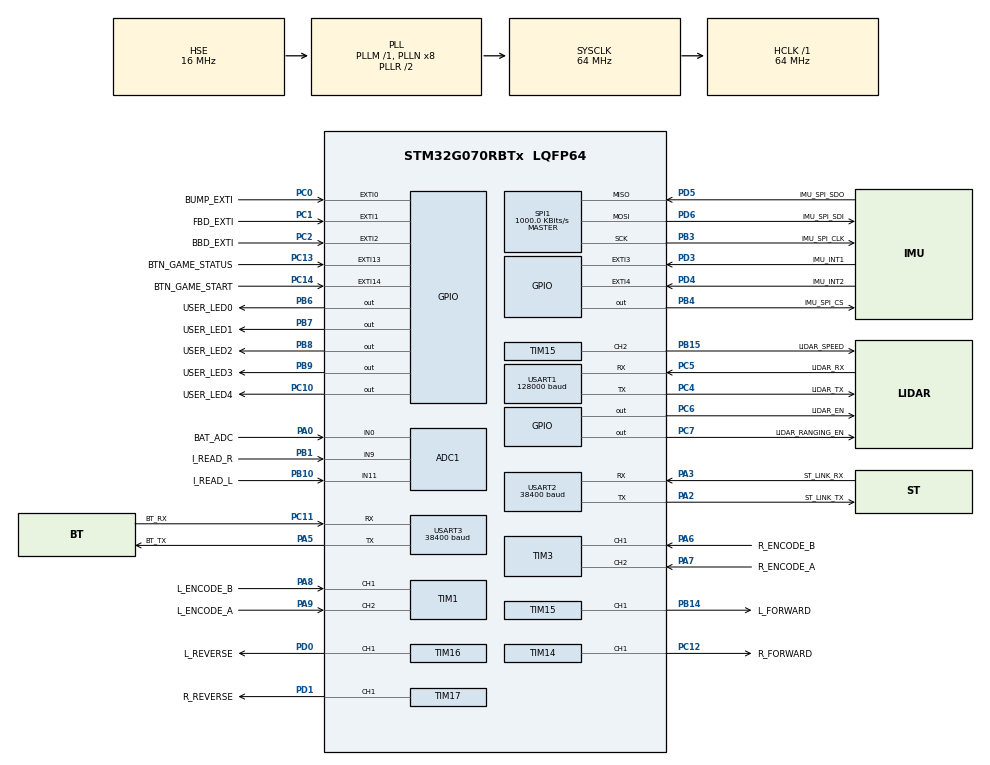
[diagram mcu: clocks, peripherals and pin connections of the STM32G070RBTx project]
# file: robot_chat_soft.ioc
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ADC1.Channel-0\#ChannelRegularConversion=ADC_CHANNEL_0
ADC1.Channel-1\#ChannelRegularConversion=ADC_CHANNEL_9
ADC1.Channel-2\#ChannelRegularConversion=ADC_CHANNEL_11
ADC1.ContinuousConvMode=DISABLE
ADC1.DMAContinuousRequests=ENABLE
ADC1.DiscontinuousConvMode=DISABLE
ADC1.EOCSelection=ADC_EOC_SEQ_CONV
ADC1.ExternalTrigConv=ADC_EXTERNALTRIG_T15_TRGO
ADC1.NbrOfConversion=3
ADC1.NbrOfConversionFlag=1
ADC1.OversamplingMode=ENABLE
ADC1.Rank-0\#ChannelRegularConversion=1
ADC1.Rank-1\#ChannelRegularConversion=2
ADC1.Rank-2\#ChannelRegularConversion=3
ADC1.Ratio=ADC_OVERSAMPLING_RATIO_16
ADC1.SamplingTime-0\#ChannelRegularConversion=ADC_SAMPLINGTIME_COMMON_1
ADC1.SamplingTime-1\#ChannelRegularConversion=ADC_SAMPLINGTIME_COMMON_2
ADC1.SamplingTime-2\#ChannelRegularConversion=ADC_SAMPLINGTIME_COMMON_2
ADC1.SamplingTimeCommon1=ADC_SAMPLETIME_12CYCLES_5
ADC1.SelectedChannel=ADC_CHANNEL_0|ADC_CHANNEL_9|ADC_CHANNEL_11
ADC1.master=1
Dma.ADC1.0.Direction=DMA_PERIPH_TO_MEMORY
Dma.ADC1.0.EventEnable=DISABLE
Dma.ADC1.0.Instance=DMA1_Channel3
Dma.ADC1.0.MemDataAlignment=DMA_MDATAALIGN_HALFWORD
Dma.ADC1.0.MemInc=DMA_MINC_ENABLE
Dma.ADC1.0.Mode=DMA_CIRCULAR
Dma.ADC1.0.PeriphDataAlignment=DMA_PDATAALIGN_HALFWORD
Dma.ADC1.0.PeriphInc=DMA_PINC_DISABLE
Dma.ADC1.0.Polarity=HAL_DMAMUX_REQ_GEN_RISING
Dma.ADC1.0.Priority=DMA_PRIORITY_LOW
Dma.ADC1.0.RequestNumber=1
Dma.ADC1.0.SignalID=NONE
Dma.ADC1.0.SyncEnable=DISABLE
Dma.ADC1.0.SyncPolarity=HAL_DMAMUX_SYNC_NO_EVENT
Dma.ADC1.0.SyncRequestNumber=1
Dma.ADC1.0.SyncSignalID=NONE
Dma.Request0=ADC1
Dma.Request1=USART1_RX
Dma.Request2=USART2_TX
Dma.Request3=USART3_TX
Dma.USART1_RX.1.Direction=DMA_PERIPH_TO_MEMORY
Dma.USART1_RX.1.EventEnable=DISABLE
Dma.USART1_RX.1.Instance=DMA1_Channel1
Dma.USART1_RX.1.MemDataAlignment=DMA_MDATAALIGN_BYTE
Dma.USART1_RX.1.MemInc=DMA_MINC_ENABLE
Dma.USART1_RX.1.Mode=DMA_CIRCULAR
Dma.USART1_RX.1.PeriphDataAlignment=DMA_PDATAALIGN_BYTE
Dma.USART1_RX.1.PeriphInc=DMA_PINC_DISABLE
Dma.USART1_RX.1.Polarity=HAL_DMAMUX_REQ_GEN_RISING
Dma.USART1_RX.1.Priority=DMA_PRIORITY_LOW
Dma.USART1_RX.1.RequestNumber=1
Dma.USART1_RX.1.SignalID=NONE
Dma.USART1_RX.1.SyncEnable=DISABLE
Dma.USART1_RX.1.SyncPolarity=HAL_DMAMUX_SYNC_NO_EVENT
Dma.USART1_RX.1.SyncRequestNumber=1
Dma.USART1_RX.1.SyncSignalID=NONE
Dma.USART2_TX.2.Direction=DMA_MEMORY_TO_PERIPH
Dma.USART2_TX.2.EventEnable=DISABLE
Dma.USART2_TX.2.Instance=DMA1_Channel2
Dma.USART2_TX.2.MemDataAlignment=DMA_MDATAALIGN_BYTE
Dma.USART2_TX.2.MemInc=DMA_MINC_ENABLE
Dma.USART2_TX.2.Mode=DMA_NORMAL
Dma.USART2_TX.2.PeriphDataAlignment=DMA_PDATAALIGN_BYTE
Dma.USART2_TX.2.PeriphInc=DMA_PINC_DISABLE
Dma.USART2_TX.2.Polarity=HAL_DMAMUX_REQ_GEN_RISING
Dma.USART2_TX.2.Priority=DMA_PRIORITY_LOW
Dma.USART2_TX.2.RequestNumber=1
Dma.USART2_TX.2.SignalID=NONE
Dma.USART2_TX.2.SyncEnable=DISABLE
Dma.USART2_TX.2.SyncPolarity=HAL_DMAMUX_SYNC_NO_EVENT
Dma.USART2_TX.2.SyncRequestNumber=1
Dma.USART2_TX.2.SyncSignalID=NONE
Dma.USART3_TX.3.Direction=DMA_MEMORY_TO_PERIPH
Dma.USART3_TX.3.EventEnable=DISABLE
Dma.USART3_TX.3.Instance=DMA1_Channel4
Dma.USART3_TX.3.MemDataAlignment=DMA_MDATAALIGN_BYTE
Dma.USART3_TX.3.MemInc=DMA_MINC_ENABLE
Dma.USART3_TX.3.Mode=DMA_NORMAL
Dma.USART3_TX.3.PeriphDataAlignment=DMA_PDATAALIGN_BYTE
Dma.USART3_TX.3.PeriphInc=DMA_PINC_DISABLE
Dma.USART3_TX.3.Polarity=HAL_DMAMUX_REQ_GEN_RISING
Dma.USART3_TX.3.Priority=DMA_PRIORITY_LOW
Dma.USART3_TX.3.RequestNumber=1
Dma.USART3_TX.3.SignalID=NONE
Dma.USART3_TX.3.SyncEnable=DISABLE
Dma.USART3_TX.3.SyncPolarity=HAL_DMAMUX_SYNC_NO_EVENT
Dma.USART3_TX.3.SyncRequestNumber=1
Dma.USART3_TX.3.SyncSignalID=NONE
FREERTOS.Tasks01=defaultTask,0,128,StartDefaultTask,Default,NULL,Dynamic,NULL,NULL
FREERTOS.configGENERATE_RUN_TIME_STATS=1
FREERTOS.configTOTAL_HEAP_SIZE=25000
FREERTOS.configUSE_STATS_FORMATTING_FUNCTIONS=1
FREERTOS.configUSE_TIMERS=1
FREERTOS.configUSE_TRACE_FACILITY=1
Mcu.Family=STM32G0
Mcu.Name=STM32G070RBTx
Mcu.Package=LQFP64
NVIC.DMA1_Ch4_7_DMAMUX1_OVR_IRQn=true\:3\:0\:false\:false\:true\:true\:false\:true\:true
NVIC.DMA1_Channel1_IRQn=true\:3\:0\:false\:false\:true\:true\:false\:true\:true
NVIC.DMA1_Channel2_3_IRQn=true\:3\:0\:false\:false\:true\:true\:false\:true\:true
NVIC.EXTI0_1_IRQn=true\:3\:0\:false\:false\:true\:true\:true\:true\:true
NVIC.EXTI2_3_IRQn=true\:3\:0\:false\:false\:true\:true\:true\:true\:true
NVIC.EXTI4_15_IRQn=true\:3\:0\:false\:false\:true\:true\:true\:true\:true
NVIC.TIM15_IRQn=true\:3\:0\:false\:false\:true\:true\:true\:true\:true
NVIC.TIM6_IRQn=true\:3\:0\:false\:false\:true\:false\:false\:true\:true
NVIC.TIM7_IRQn=true\:3\:0\:false\:false\:true\:true\:true\:true\:true
NVIC.TimeBase=TIM6_IRQn
NVIC.TimeBaseIP=TIM6
NVIC.USART1_IRQn=true\:3\:0\:false\:false\:true\:true\:true\:true\:true
NVIC.USART2_IRQn=true\:3\:0\:false\:false\:true\:true\:true\:true\:true
NVIC.USART3_4_IRQn=true\:3\:0\:false\:false\:true\:true\:true\:true\:true
PA0.GPIO_Label=BAT_ADC
PA0.Mode=IN0
PA0.Signal=ADC1_IN0
PA13.Mode=Serial_Wire
PA13.Signal=SYS_SWDIO
PA14-BOOT0.Mode=Serial_Wire
PA14-BOOT0.Signal=SYS_SWCLK
PA2.GPIO_Label=ST_LINK_TX
PA2.Mode=Asynchronous
PA2.Signal=USART2_TX
PA3.GPIO_Label=ST_LINK_RX
PA3.Mode=Asynchronous
PA3.Signal=USART2_RX
PA5.GPIO_Label=BT_TX
PA5.Mode=Asynchronous
PA5.Signal=USART3_TX
PA6.GPIO_Label=R_ENCODE_B
PA6.Signal=S_TIM3_CH1
PA7.GPIO_Label=R_ENCODE_A
PA7.Signal=S_TIM3_CH2
PA8.GPIO_Label=L_ENCODE_B
PA8.Signal=S_TIM1_CH1
PA9.GPIO_Label=L_ENCODE_A
PA9.Signal=S_TIM1_CH2
PB1.GPIO_Label=I_READ_R
PB1.Mode=IN9
PB1.Signal=ADC1_IN9
PB10.GPIO_Label=I_READ_L
PB10.Mode=IN11
PB10.Signal=ADC1_IN11
PB14.GPIO_Label=L_FORWARD
PB14.Signal=S_TIM15_CH1
PB15.GPIO_Label=LIDAR_SPEED
PB15.Signal=S_TIM15_CH2
PB3.GPIO_Label=IMU_SPI_CLK
PB3.Mode=Full_Duplex_Master
PB3.Signal=SPI1_SCK
PB4.GPIO_Label=IMU_SPI_CS
PB4.Signal=GPIO_Output
PB6.GPIO_Label=USER_LED0
PB6.Signal=GPIO_Output
PB7.GPIO_Label=USER_LED1
PB7.Signal=GPIO_Output
PB8.GPIO_Label=USER_LED2
PB8.Signal=GPIO_Output
PB9.GPIO_Label=USER_LED3
PB9.Signal=GPIO_Output
PC0.GPIO_Label=BUMP_EXTI
PC0.GPIO_ModeDefaultEXTI=GPIO_MODE_IT_RISING_FALLING
PC0.GPIO_PuPd=GPIO_PULLDOWN
PC0.Signal=GPXTI0
PC1.GPIO_Label=FBD_EXTI
PC1.GPIO_ModeDefaultEXTI=GPIO_MODE_IT_RISING_FALLING
PC1.GPIO_PuPd=GPIO_PULLDOWN
PC1.Signal=GPXTI1
PC10.GPIO_Label=USER_LED4
PC10.Signal=GPIO_Output
PC11.GPIO_Label=BT_RX
PC11.Mode=Asynchronous
PC11.Signal=USART3_RX
PC12.GPIO_Label=R_FORWARD
PC12.Signal=S_TIM14_CH1
PC13.GPIO_Label=BTN_GAME_STATUS
PC13.GPIO_PuPd=GPIO_PULLDOWN
PC13.Signal=GPXTI13
PC14-OSC32_IN\ (PC14).GPIO_Label=BTN_GAME_START
PC14-OSC32_IN\ (PC14).GPIO_PuPd=GPIO_PULLDOWN
PC14-OSC32_IN\ (PC14).Signal=GPXTI14
PC2.GPIO_Label=BBD_EXTI
PC2.GPIO_ModeDefaultEXTI=GPIO_MODE_IT_RISING_FALLING
PC2.GPIO_PuPd=GPIO_PULLDOWN
PC2.Signal=GPXTI2
PC4.GPIO_Label=LIDAR_TX
PC4.Mode=Asynchronous
PC4.Signal=USART1_TX
PC5.GPIO_Label=LIDAR_RX
PC5.Mode=Asynchronous
PC5.Signal=USART1_RX
PC6.GPIO_Label=LIDAR_EN
PC6.Signal=GPIO_Output
PC7.GPIO_Label=LIDAR_RANGING_EN
PC7.Signal=GPIO_Output
PD0.GPIO_Label=L_REVERSE
PD0.Signal=S_TIM16_CH1
PD1.GPIO_Label=R_REVERSE
PD1.Signal=S_TIM17_CH1
PD3.GPIO_Label=IMU_INT1
PD3.Signal=GPXTI3
PD4.GPIO_Label=IMU_INT2
PD4.Signal=GPXTI4
PD5.GPIO_Label=IMU_SPI_SDO
PD5.Mode=Full_Duplex_Master
PD5.Signal=SPI1_MISO
PD6.GPIO_Label=IMU_SPI_SDI
PD6.Mode=Full_Duplex_Master
PD6.Signal=SPI1_MOSI
PF0-OSC_IN\ (PF0).Mode=HSE-External-Oscillator
PF0-OSC_IN\ (PF0).Signal=RCC_OSC_IN
PF1-OSC_OUT\ (PF1).Mode=HSE-External-Oscillator
PF1-OSC_OUT\ (PF1).Signal=RCC_OSC_OUT
ProjectManager.HeapSize=0x200
ProjectManager.StackSize=0x400
ProjectManager.TargetToolchain=STM32CubeIDE
RCC.ADCFreq_Value=64000000
RCC.AHBFreq_Value=64000000
RCC.CortexFreq_Value=64000000
RCC.EXTERNAL_CLOCK_VALUE=48000
RCC.HCLKFreq_Value=64000000
RCC.HSE_VALUE=16000000
RCC.HSI_VALUE=16000000
RCC.LSE_VALUE=32768
RCC.PLLSourceVirtual=RCC_PLLSOURCE_HSE
RCC.SYSCLKFreq_VALUE=64000000
RCC.SYSCLKSource=RCC_SYSCLKSOURCE_PLLCLK
RCC.VCOOutputFreq_Value=128000000
SH.S_TIM14_CH1.0=TIM14_CH1,PWM Generation1 CH1
SH.S_TIM15_CH1.0=TIM15_CH1,PWM Generation1 CH1
SH.S_TIM15_CH2.0=TIM15_CH2,PWM Generation2 CH2
SH.S_TIM16_CH1.0=TIM16_CH1,PWM Generation1 CH1
SH.S_TIM17_CH1.0=TIM17_CH1,PWM Generation1 CH1
SH.S_TIM1_CH1.0=TIM1_CH1,Encoder_Interface
SH.S_TIM1_CH2.0=TIM1_CH2,Encoder_Interface
SH.S_TIM3_CH1.0=TIM3_CH1,Encoder_Interface
SH.S_TIM3_CH2.0=TIM3_CH2,Encoder_Interface
SPI1.BaudRatePrescaler=SPI_BAUDRATEPRESCALER_64
SPI1.CalculateBaudRate=1000.0 KBits/s
SPI1.DataSize=SPI_DATASIZE_8BIT
SPI1.Direction=SPI_DIRECTION_2LINES
SPI1.Mode=SPI_MODE_MASTER
SPI1.VirtualType=VM_MASTER
TIM1.CounterMode=TIM_COUNTERMODE_UP
TIM1.EncoderMode=TIM_ENCODERMODE_TI12
TIM1.IC1Polarity=TIM_ICPOLARITY_RISING
TIM14.Channel=TIM_CHANNEL_1
TIM14.Period=1023
TIM14.Prescaler=2
TIM15.Channel-PWM\ Generation1\ CH1=TIM_CHANNEL_1
TIM15.Channel-PWM\ Generation2\ CH2=TIM_CHANNEL_2
TIM15.Period=1023
TIM15.Prescaler=2
TIM15.TIM_MasterOutputTrigger=TIM_TRGO_UPDATE
TIM16.Channel=TIM_CHANNEL_1
TIM16.Period=1023
TIM16.Prescaler=2
TIM17.Channel=TIM_CHANNEL_1
TIM17.Period=1023
TIM17.Prescaler=2
TIM3.CounterMode=TIM_COUNTERMODE_UP
TIM3.EncoderMode=TIM_ENCODERMODE_TI12
TIM3.IC1Polarity=TIM_ICPOLARITY_RISING
TIM3.IC2Polarity=TIM_ICPOLARITY_RISING
TIM7.Period=1000
TIM7.Prescaler=64000
USART1.BaudRate=128000
USART1.SwapParam=ADVFEATURE_SWAP_ENABLE
USART1.VirtualMode-Asynchronous=VM_ASYNC
USART2.BaudRate=38400
USART2.VirtualMode-Asynchronous=VM_ASYNC
USART3.BaudRate=38400
USART3.SwapParam=ADVFEATURE_SWAP_ENABLE
USART3.VirtualMode-Asynchronous=VM_ASYNC
VP_FREERTOS_VS_CMSIS_V1.Mode=CMSIS_V1
VP_SYS_VS_tim6.Mode=TIM6
VP_TIM14_VS_ClockSourceINT.Mode=Enable_Timer
VP_TIM15_VS_ClockSourceINT.Mode=Internal
VP_TIM16_VS_ClockSourceINT.Mode=Enable_Timer
VP_TIM17_VS_ClockSourceINT.Mode=Enable_Timer
VP_TIM7_VS_ClockSourceINT.Mode=Enable_Timer
board=custom

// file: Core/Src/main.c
/* USER CODE BEGIN Header */
/**
 ******************************************************************************
 * @file           : main.c
 * @brief          : Main program body
 ******************************************************************************
 * @attention
 *
 * Copyright (c) 2023 STMicroelectronics.
 * All rights reserved.
 *
 * This software is licensed under terms that can be found in the LICENSE file
 * in the root directory of this software component.
 * If no LICENSE file comes with this software, it is provided AS-IS.
 *
 ******************************************************************************
 */
/* USER CODE END Header */
#include "main.h"
#include "cmsis_os.h"
#include "adc.h"
#include "dma.h"
#include "spi.h"
#include "tim.h"
#include "usart.h"
#include "gpio.h"

/* USER CODE BEGIN Includes */
#include <stdio.h>
#include <string.h>
#include "ydlidar_x4.h"	//called in "mask.h"
#include "imu.h"
#include "motor.h"
#include "fixpoint_math.h"
#include "control.h"
#include "odometry.h"
#include "strategy.h"
#include "config.h"
#include "trajectoire.h"
//#include "mask.h"
/* USER CODE END Includes */

/* USER CODE BEGIN PD */
#define QUEUE_PRINTF_SIZE 100
#define QUEUE_PRINTF_LENGTH 10
#define DEFAULT_STACK_SIZE 512
#define DEFAULT_TASK_PRIORITY 1
#define DEFAULT_LIDAR_SPEED 950
#define TRUNC_FIXP 1000000000000

#define WHEEL_DIAMETER 0x2A800000	//42.5mm diameter, Q.24
#define WHEEL_DIST (155UL<<16) 		//155mm distance between wheels, Q.16
#define ENC_TICKSPERREV (896<<16)	//618.18 encoder ticks per revolution, Q.16
#define ODOMETRY_FREQ 50UL 			//50Hz odometry refresh frequency

#define BT

/* USER CODE END PD */

/* USER CODE BEGIN PV */
QueueHandle_t q_printf = NULL;

TaskHandle_t h_task_init = NULL;
TaskHandle_t h_IMU_taskRead = NULL;
TaskHandle_t h_printf = NULL;
TaskHandle_t h_task_lidar_ISR = NULL;
TaskHandle_t h_task_RX_ISR = NULL;
TaskHandle_t h_task_BTN_ISR = NULL;
TaskHandle_t h_task_Motor = NULL;
TaskHandle_t h_task_MotorSpeed = NULL;
TaskHandle_t h_task_strategy = NULL;
TaskHandle_t h_task_tracking = NULL;

SemaphoreHandle_t lidar_RX_semaphore;
SemaphoreHandle_t com_RX_semaphore;
SemaphoreHandle_t BTN_STATUS_semaphore;
SemaphoreHandle_t BTN_START_semaphore;
SemaphoreHandle_t printf_semaphore;

BaseType_t ret;
h_ydlidar_x4_t lidar;
//h_mask_target_t h_target;
h_imu_drv_t h_imu;
uint8_t rx_pc;
uint8_t string_display[720];
hMotor_t Rmot;
hMotor_t Lmot;
hOdometry_t hOdometry;
int32_t mot_speed = 0;
int16_t cnt = 0;
int32_t angle = 0;
int32_t avg_speed = DEFAULT_SPEED;
uint8_t odom_overflow = 0;
int32_t angle_corr = 0;
strat_mode_t strat_mode = DEFAULT_STRAT_MODE;

uint8_t msg[QUEUE_PRINTF_SIZE];
/* USER CODE END PV */

void SystemClock_Config(void);
void MX_FREERTOS_Init(void);
/* USER CODE BEGIN PFP */

int __io_putchar(int ch)
{
	HAL_UART_Transmit(&huart2, (uint8_t *)&ch, 1, HAL_MAX_DELAY);
	HAL_UART_Transmit(&huart3, (uint8_t *)&ch, 1, HAL_MAX_DELAY);
	return ch;
}

void HAL_UART_RxCpltCallback(UART_HandleTypeDef * huart){
	BaseType_t xHigherPriorityTaskToken = pdFALSE;
	if(huart->Instance == USART1){
		xSemaphoreGiveFromISR(lidar_RX_semaphore, &xHigherPriorityTaskToken);
	}
#ifdef SE
	if(huart->Instance == USART2){
		xSemaphoreGiveFromISR(com_RX_semaphore, &xHigherPriorityTaskToken);
	}
#endif
#ifdef BT
	if(huart->Instance == USART3){
		xSemaphoreGiveFromISR(com_RX_semaphore, &xHigherPriorityTaskToken);
	}
#endif
	portYIELD_FROM_ISR(xHigherPriorityTaskToken);
}

void HAL_UART_RxHalfCpltCallback(UART_HandleTypeDef *huart)
{
	BaseType_t xHigherPriorityTaskToken = pdFALSE;
	if(huart->Instance == USART1){
		xSemaphoreGiveFromISR(lidar_RX_semaphore, &xHigherPriorityTaskToken);
	}
	portYIELD_FROM_ISR(xHigherPriorityTaskToken);
}

void HAL_UART_TxCpltCallback(UART_HandleTypeDef * huart){
	if(huart->Instance == USART2){
		BaseType_t xHigherPriorityTaskToken = pdFALSE;
		xSemaphoreGiveFromISR(printf_semaphore, &xHigherPriorityTaskToken);
		portYIELD_FROM_ISR(xHigherPriorityTaskToken);
		//HAL_GPIO_TogglePin(USER_LED4_GPIO_Port, USER_LED4_Pin);
	}
}

int lidar_uart_transmit(uint8_t *p_data, uint16_t size)
{
	HAL_UART_Transmit(&huart1,p_data, size, HAL_MAX_DELAY);
	return 0;
}

int lidar_uart_receive(uint8_t *p_data)
{
	HAL_UART_Receive_DMA(&huart1,p_data, LIDAR2DMA_SIZE);
	return 0;
}

void HAL_GPIO_EXTI_Rising_Callback(uint16_t GPIO_Pin)
{
	BaseType_t xHigherPriorityTaskToken = pdFALSE;
	if(GPIO_Pin == BTN_GAME_STATUS_Pin) {
		xSemaphoreGiveFromISR(BTN_STATUS_semaphore, &xHigherPriorityTaskToken);
	}
	if(GPIO_Pin == BTN_GAME_START_Pin) {
		mot_speed ^= 1;
		xSemaphoreGiveFromISR(BTN_START_semaphore, &xHigherPriorityTaskToken);
	}
	portYIELD_FROM_ISR(xHigherPriorityTaskToken);
}

void HAL_GPIO_EXTI_Falling_Callback(uint16_t GPIO_Pin){
	BaseType_t xHigherPriorityTaskToken = pdFALSE;
	if(GPIO_Pin == FBD_EXTI_Pin) {
		HAL_GPIO_WritePin(USER_LED3_GPIO_Port, USER_LED3_Pin, 0);
		// Met la valeur du mot utilisé par la detection de chute à la valeur 0 (no obstacle)
		//Le masque | NO_OBSTACLE est optionnel mais permet une meilleure lecture du code
		//strat_mode = (strat_mode & 0xFFF0) | NO_OBSTACLE;
	}
	if(GPIO_Pin == BBD_EXTI_Pin) {
		HAL_GPIO_WritePin(USER_LED3_GPIO_Port, USER_LED3_Pin, 0);
		//strat_mode = (strat_mode & 0xFFF0) | NO_OBSTACLE;
	}
	if(GPIO_Pin == BUMP_EXTI_Pin) {
		HAL_GPIO_WritePin(USER_LED4_GPIO_Port, USER_LED4_Pin, 1);
		//strat_mode = (strat_mode & 0xFF0F) | NO_OBSTACLE;
	}
	portYIELD_FROM_ISR(xHigherPriorityTaskToken);
}

void task_dev(void * unused)
{

	printf("Task init ok\r\n");
	for(;;){
		//imu_dev(&h_imu);
		//printf("Task init looping\r\n");
		HAL_GPIO_TogglePin(USER_LED0_GPIO_Port, USER_LED0_Pin);
		//HAL_GPIO_TogglePin(USER_LED1_GPIO_Port, USER_LED1_Pin);
		//HAL_GPIO_TogglePin(USER_LED2_GPIO_Port, USER_LED2_Pin);
		//HAL_GPIO_TogglePin(USER_LED3_GPIO_Port, USER_LED3_Pin);
		//HAL_GPIO_TogglePin(USER_LED4_GPIO_Port, USER_LED4_Pin);
		printf("Strat mode : 0x%x\n\r", strat_mode);
		vTaskDelay(1000);
	}
}

void IMU_taskRead(void * unused)
{
	//uint8_t msg [QUEUE_PRINTF_SIZE];

	for(;;){
		IMU_gyro(&h_imu);

		/*
		sprintf(msg, "Lecture des accelerations :\r\n- Gyro X :%d\r\n- Gyro Y :%d\r\n- Gyro Z :%d\r\n", h_imu.gyro[0],  h_imu.gyro[1], h_imu.gyro[2]);

		xQueueSend(q_printf, (void *)msg, 5);*/

		/*
		printf("Lecture des accelerations :\r\n");
		printf("- Gyro X :%d\r\n", h_imu->gyro[0]);
		printf("- Gyro Y :%d\r\n", h_imu->gyro[1]);
		printf("- Gyro Z :%d\r\n", h_imu->gyro[2]);*/
		//xQueueSend(q_printf, (void *)msg, 5);

		//HAL_GPIO_TogglePin(USER_LED1_GPIO_Port, USER_LED1_Pin);
		vTaskDelay(5);
	}
}

void printfTask(void * unused)
{
	uint8_t printMsg[QUEUE_PRINTF_SIZE];
	BaseType_t ret;
	HAL_StatusTypeDef status;

	for(;;){
		ret = xQueueReceive(q_printf, (void *)printMsg, portMAX_DELAY);
		uint16_t msg_len = strlen(printMsg);
		if(ret == pdTRUE && msg_len != 0){
			//printf(msg);
			//status = HAL_UART_Transmit_DMA(&huart2, printMsg, msg_len);
			status = HAL_UART_Transmit_DMA(&huart2, printMsg, msg_len);
			xSemaphoreTake(printf_semaphore, portMAX_DELAY);
		}
	}
}

void task_lidar_ISR(void * unused)
{
	printf("Task lidar ISR ok\r\n");
	for(;;){
		xSemaphoreTake(lidar_RX_semaphore, portMAX_DELAY );
		ydlidar_x4_irq_cb(&lidar);
	}
}

void task_tracking(void * unused)
{
	lidar.decode_state = SCANNING;
	lidar.serial_drv.receive(lidar.buf_DMA);
	lidar.nb_smpl = 0;
	lidar.start_angl = 0;
	lidar.end_angl = 0;
	HAL_GPIO_WritePin(LIDAR_RANGING_EN_GPIO_Port, LIDAR_RANGING_EN_Pin, GPIO_PIN_SET);
	HAL_GPIO_WritePin(LIDAR_EN_GPIO_Port, LIDAR_EN_Pin, GPIO_PIN_SET);
	vTaskDelay(50);
	ydlidar_x4_scan(&lidar);

	printf("Task tracking ok\r\n");
	int32_t target_angle_rad;
	 //TODO suppress if working find_taget
	uint16_t target_angle;
	for(;;){
		uint16_t min_v = 4000, last_min=4000;
		for(int i=0;i<360;i++){
			if((lidar.sorted_dist[i] > 0) && (min_v > lidar.sorted_dist[i])){
				min_v=lidar.sorted_dist[i];
			}
			if(min_v <last_min){
				target_angle = i;
				last_min = min_v;
			}
		}
	//find_target(&lidar, &h_target);
	if(min_v < 4000){
		target_angle_rad = (target_angle - 160)*DEG2RAD; //convert angle from deg to rad Q7.24
		angle_corr = set_angle_corr(&hOdometry, target_angle_rad + hOdometry.angle);
		if(target_angle < 130){
			//angle_corr = set_angle_corr(&hOdometry, -1*(1<<24));
			HAL_GPIO_TogglePin(USER_LED4_GPIO_Port, USER_LED4_Pin);
		}else if(target_angle > 170){
			//angle_corr = set_angle_corr(&hOdometry, 1<<24);
			HAL_GPIO_TogglePin(USER_LED3_GPIO_Port, USER_LED3_Pin);
		}else{
			//angle_corr = set_angle_corr(&hOdometry, hOdometry.angle);
			HAL_GPIO_TogglePin(USER_LED2_GPIO_Port, USER_LED2_Pin);
		}
	}
	//printf("Rs,Ls = %d, %d\r\n",(int)Rmot.speed_measured[Rmot.speed_index]/(1<<16),(int)Lmot.speed_measured[Lmot.speed_index]/(1<<16));
	vTaskDelay(50);
	}
}

#ifdef SE
void task_RX_ISR(void * unused)
{
	printf("Task RX ISR ok\r\n");
	HAL_UART_Receive_IT(&huart2, &rx_pc, 1);
	int packet = 0;
	for(;;){
		xSemaphoreTake(com_RX_semaphore, portMAX_DELAY);
		if(rx_pc == 0xAA){
			rx_pc = 0xFF;
			int i=0;
			for(;i<36;i++){
				if(i%2 == 0){
					string_display[i+packet] = (lidar.sorted_dist[(i+packet)>>1])>>8;
				}else{
					string_display[i+packet] = (lidar.sorted_dist[(i+packet)>>1]) & 0x00FF;
				}
			}
			packet+=i;
			HAL_UART_Transmit_DMA(&huart2,&string_display[packet-36], 36);
			if(packet >= 720){
				packet = 0;
			}
			HAL_UART_Receive_IT(&huart2, &rx_pc, 1);
		}else{
			HAL_UART_Receive_IT(&huart2, &rx_pc, 1);
		}
		/*else if(rx_pc == 0xBB){
			rx_pc = 0xFF;
			mot_speed = 1;
			ydlidar_x4_scan(&lidar);
			HAL_GPIO_TogglePin(USER_LED1_GPIO_Port, USER_LED1_Pin);
			HAL_UART_Receive_IT(&huart2, &rx_pc, 1);
		}*/
	}
}
#endif

#ifdef BT
void task_RX_ISR(void * unused)
{
	printf("Task RX ISR ok\r\n");
	HAL_UART_Receive_IT(&huart3, &rx_pc, 1);
	int packet = 0;
	for(;;){
		xSemaphoreTake(com_RX_semaphore, portMAX_DELAY);
		if(rx_pc == 0xAA){
			rx_pc = 0xFF;
			int i=0;
			for(;i<36;i++){
				if(i%2 == 0){
					string_display[i+packet] = (lidar.sorted_dist[(i+packet)>>1])>>8;
				}else{
					string_display[i+packet] = (lidar.sorted_dist[(i+packet)>>1]) & 0x00FF;
				}
			}
			packet+=i;
			HAL_UART_Transmit_DMA(&huart3,&string_display[packet-36], 36);
			if(packet >= 720){
				packet = 0;
			}
			HAL_UART_Receive_IT(&huart3, &rx_pc, 1);
		}else{
			HAL_UART_Receive_IT(&huart3, &rx_pc, 1);
		}
		/*else if(rx_pc == 0xBB){
					rx_pc = 0xFF;
					mot_speed = 1;
					ydlidar_x4_scan(&lidar);
					HAL_GPIO_TogglePin(USER_LED1_GPIO_Port, USER_LED1_Pin);
					HAL_UART_Receive_IT(&huart2, &rx_pc, 1);
		}*/
	}
}
#endif

void task_BTN_ISR(void * unused)
{
	printf("Task BTN ok\r\n");
	for(;;){
		xSemaphoreTake(BTN_STATUS_semaphore, portMAX_DELAY);
		HAL_GPIO_TogglePin(USER_LED1_GPIO_Port, USER_LED1_Pin);
	}
}

void task_Motor(void * unused)
{
	vTaskDelay(10);
	motor_set_PWM(&Rmot, 0);
	motor_set_PWM(&Lmot, 0);
	Rmot.current_offset = Rmot.adc_dma_buff[Rmot.dma_buff_index];
	Lmot.current_offset = Lmot.adc_dma_buff[Lmot.dma_buff_index];
	int32_t speed = 0;
	for(;;)
	{
		vTaskDelay(500);
		//speed = Rmot.speed_measured[Rmot.speed_index];
		//printf("FWD %d\r\n",(int)(int16_t)__HAL_TIM_GET_COMPARE(Lmot.tim_FWD,TIM_CHANNEL_1));
		//printf("REV %d\r\n",(int)(int16_t)__HAL_TIM_GET_COMPARE(Lmot.tim_REV,TIM_CHANNEL_1));
		//printf("L Vdiff %d\r\n", (int)(fixed_div(Lmot.speed_output[Lmot.speed_index],128<<16,16) - fixed_div(Lmot.speed_measured[Lmot.speed_index],80<<16,16))/(1<<16));
		//printf("angle %d\r\n", (int)(hOdometry.angle*10/(1<<24)));
		//printf("dr %d\r\n", (int)(hOdometry.dr/(1<<24)));
		//TODO printf("x %d, y %d\r\n", (int)hOdometry.x/(1<<16), (int)hOdometry.y/(1<<16));
		//printf("counts %d\r\n", (int)cnt);
		sprintf(msg,"\t\t\t\t\tOdometry : x %d, y %d\r\n", (int)hOdometry.x/(1<<16), (int)hOdometry.y/(1<<16));
		xQueueSendToFront(q_printf, (void *)msg, 1);

		/*motor_set_PWM(&Rmot, 512);
		motor_set_PWM(&Lmot, 512);
		vTaskDelay(2000);
		motor_set_PWM(&Rmot, 0);
		motor_set_PWM(&Lmot, 0);
		vTaskDelay(2000);
		motor_set_PWM(&Rmot, -512);
		motor_set_PWM(&Lmot, -512);*/
	}
}

void task_MotorSpeed(void * unused)
{
	int32_t Lspeed = 0;
	int32_t Rspeed = 0;
	int32_t x = 500<<16;
	int32_t y = 0;
	for(;;)
	{
		cnt = (int16_t)__HAL_TIM_GET_COUNTER(Rmot.tim_ENC);
		odometry_update_pos(&hOdometry);
		//angle = follow_trajectory(&hOdometry, &x, &y,&mot_speed);
		//motor_get_speed(&Rmot);
		//motor_get_speed(&Lmot);
		//motor_get_current(&Rmot);
		//motor_get_current(&Lmot);
		/*
		if(hOdometry.x > 400<<15)
		{
			angle += HALF_PI;
			hOdometry.x = 0;
		}
		if(hOdometry.y > 400<<15)
		{
			angle += HALF_PI;
			hOdometry.y = 0;
			//mot_speed = 0;
		}
		if(hOdometry.x < -400<<15)
		{
			angle += HALF_PI;
			hOdometry.x = 0;
		}
		if(hOdometry.y < -400<<15)
		{
			angle += HALF_PI;
			hOdometry.y = 0;
			//mot_speed = 0;
		}*/
		//angle = modulo_2pi(angle);

		//angle_corr = set_angle_corr(&hOdometry, angle);

		//angle_corr = set_angle_corr(&hOdometry, angle);
		Rspeed = (avg_speed<<16) + fixed_mul(avg_speed<<16, angle_corr, 24);
		Lspeed = (avg_speed<<16) - fixed_mul(avg_speed<<16, angle_corr, 24);
		//speed = Rmot.speed_measured[Rmot.speed_index];
		//motor_set_PWM(&Lmot, -mot_speed*512);
		//motor_set_PWM(&Rmot, mot_speed*512);
		//printf("vitesse moteur = %d.%u mm/s, courant moteur = %d.%u mA, tension batterie = %d.%u V\r\n", (int)(speed/(1<<16)), (unsigned int)conv_frac16_dec(speed & 0xFFFF,TRUNC_FIXP), (int)(Rmot.current_measured[Rmot.current_index]/(1<<16)), (unsigned int)conv_frac16_dec(Rmot.current_measured[Rmot.current_index] & 0xFFFF, TRUNC_FIXP) , (int)(V/(1<<16)),(unsigned int)conv_frac16_dec(V & 0xFFFF,TRUNC_FIXP));
		//printf("counts = %d, mesure : %d.%u mm/s, error : %d.%u mm/s, output : %d.%u, integral : %d.%u\r\n", (int)cnt, (int)(speed/(1<<16)), (unsigned int)conv_frac16_dec(speed & 0xFFFF, TRUNC_FIXP),(int)(Rmot.speed_error[Rmot.speed_index]/(1<<16)), (unsigned int)conv_frac16_dec((Rmot.speed_error[Rmot.speed_index]) & 0xFFFF, TRUNC_FIXP), (int)Rmot.speed_output[Rmot.speed_index]/(1<<16), (unsigned int)conv_frac16_dec(Rmot.speed_output[Rmot.speed_index] & 0xFFFF, TRUNC_FIXP), (int)(Rmot.speed_integral/(1<<16)), (unsigned int)conv_frac16_dec(Rmot.speed_integral & 0xFFFF, TRUNC_FIXP));
		set_speed_PID(&Rmot,mot_speed*Rspeed);
		set_speed_PID(&Lmot,mot_speed*Lspeed);
		//printf("vitesse moteur = %d.%u rpm, courant moteur = %d.%u mA, tension batterie = %d.%u V\r\n", (int)(speed/(1<<16)), (unsigned int)conv_frac16_dec(speed & 0xFFFF,TRUNC_FIXP), (int)(Rmot.current_measured[Rmot.current_index]/(1<<16)), (unsigned int)conv_frac16_dec(Rmot.current_measured[Rmot.current_index] & 0xFFFF, TRUNC_FIXP) , (int)(V/(1<<16)),(unsigned int)conv_frac16_dec(V & 0xFFFF,TRUNC_FIXP));
		//printf("adc buffer 0: %d, 1: %d, 2: %d, i = %d, count = %d\r\n", (int)adcBuff[0],(int)adcBuff[1],(int)adcBuff[2], k, (int)__HAL_TIM_GET_COUNTER(&htim15));
		vTaskDelay(20);
	}
}

void task_Strategy(void * unused){

	for(;;){
		//strategy(&strat_mode, &hOdometry);
		/*hOdometry.x = 100<<16;
		hOdometry.y = 100<<16;
		strategy(&strat_mode, &hOdometry);
		hOdometry.x = 1100<<16;
		hOdometry.y = 0<<16;
		strategy(&strat_mode, &hOdometry);
		hOdometry.x = 1050<<16;
		hOdometry.y = 0<<16;
		strategy(&strat_mode, &hOdometry);
		hOdometry.x = 1100<<16;
		hOdometry.y = 600<<16;
		strategy(&strat_mode, &hOdometry);
		hOdometry.x = 450<<16;
		hOdometry.y = 200<<16;
		strategy(&strat_mode, &hOdometry);
		hOdometry.x = -100<<16;
		hOdometry.y = 30<<16;
		strategy(&strat_mode, &hOdometry);
		hOdometry.x = 0<<16;
		hOdometry.y = 600<<16;
		strat_mode = (strat_mode & 0xF0FF) | TURN_CLOCK;
		hOdometry.x = 1100<<16;
		hOdometry.y = 0<<16;
		strategy(&strat_mode, &hOdometry);
		strat_mode = (strat_mode & 0xFFF0) | FALL_FORWARD;
		strategy(&strat_mode, &hOdometry);
		strat_mode = (strat_mode & 0xFF0F) | COLLIDE;
		strategy(&strat_mode, &hOdometry);
		printf("Strat executed\r\n");
		strat_mode = DEFAULT_STRAT_MODE;*/
		//Fonctionne à 100Hz
		vTaskDelay(100);
	}
}

/* USER CODE END PFP */

int main(void)
{

  /* MCU Configuration--------------------------------------------------------*/

  /* Reset of all peripherals, Initializes the Flash interface and the Systick. */
  HAL_Init();

  /* Configure the system clock */
  SystemClock_Config();

  /* Initialize all configured peripherals */
  MX_GPIO_Init();
  MX_DMA_Init();
  MX_ADC1_Init();
  MX_TIM1_Init();
  MX_TIM3_Init();
  MX_TIM14_Init();
  MX_TIM15_Init();
  MX_TIM16_Init();
  MX_TIM17_Init();
  MX_SPI1_Init();
  MX_USART1_UART_Init();
  MX_USART2_UART_Init();
  MX_USART3_UART_Init();
  MX_TIM7_Init();
  /* USER CODE BEGIN 2 */
	lidar_RX_semaphore = xSemaphoreCreateBinary();
	com_RX_semaphore = xSemaphoreCreateBinary();
	BTN_STATUS_semaphore = xSemaphoreCreateBinary();
	BTN_START_semaphore = xSemaphoreCreateBinary();
	printf_semaphore = xSemaphoreCreateBinary();
	q_printf = xQueueCreate(QUEUE_PRINTF_LENGTH, QUEUE_PRINTF_SIZE);

	HAL_TIM_PWM_Start(&htim15, TIM_CHANNEL_1 | TIM_CHANNEL_2);
	__HAL_TIM_SET_COMPARE(&htim15, TIM_CHANNEL_2, DEFAULT_LIDAR_SPEED);
	lidar.serial_drv.transmit = lidar_uart_transmit;
	lidar.serial_drv.receive = lidar_uart_receive;
	ydlidar_x4_init(&lidar);

	current_sense_start();

	motor_init(&Rmot, &htim17, &htim14, &htim3, 1, 5<<16, 1<<16, 0, 1023<<16, 10);
	//TIM15 and TIM16 are switched to reverse motor polarity.
	motor_init(&Lmot, &htim16, &htim15, &htim1, 2, 5<<16, 1<<16, 0, 1023<<16, 10);

	odometry_init(&hOdometry, &Rmot, &Lmot, WHEEL_DIAMETER, ENC_TICKSPERREV, WHEEL_DIST, ODOMETRY_FREQ);

	IMU_init(&h_imu);

	init_champ_vect();

	//IMU_init(&h_imu);
	printf("battery voltage = %dmV\r\n", 1000*(int)battery_get_voltage()/(1<<16));

#ifndef DEV_MODE
	/*ret = xTaskCreate(task_init, "task_init", DEFAULT_STACK_SIZE/2, NULL, DEFAULT_TASK_PRIORITY, &h_task_init);
	if(ret != pdPASS)
	{
		printf("Could not create task init \r\n");
		Error_Handler();
	}*/
	ret = xTaskCreate(task_lidar_ISR, "task_lidar_ISR", DEFAULT_STACK_SIZE, NULL, DEFAULT_TASK_PRIORITY+1, &h_task_lidar_ISR);
	if(ret != pdPASS)
	{
		printf("Could not create task lidar ISR \r\n");
		Error_Handler();
	}
	ret = xTaskCreate(task_tracking, "task_tracking", DEFAULT_STACK_SIZE, NULL, DEFAULT_TASK_PRIORITY+1, &h_task_tracking);
	if(ret != pdPASS)
	{
		printf("Could not create task tracking\r\n");
		Error_Handler();
	}
	ret = xTaskCreate(task_RX_ISR, "task_RX_ISR", DEFAULT_STACK_SIZE+256, NULL, DEFAULT_TASK_PRIORITY+5, &h_task_RX_ISR);
	if(ret != pdPASS)
	{
		printf("Could not create task RX ISR \r\n");
		Error_Handler();
	}
	ret = xTaskCreate(task_BTN_ISR, "task_BTN_ISR", DEFAULT_STACK_SIZE/2, NULL, DEFAULT_TASK_PRIORITY, &h_task_BTN_ISR);
	if(ret != pdPASS)
	{
		printf("Could not create task BTN ISR \r\n");
		Error_Handler();
	}
	/*ret = xTaskCreate(task_Motor, "task_Motor", DEFAULT_STACK_SIZE, NULL, DEFAULT_TASK_PRIORITY+4, &h_task_Motor);
	if(ret != pdPASS)
	{
		printf("Could not create task Motor \r\n");
		Error_Handler();
	}*/
	ret = xTaskCreate(task_MotorSpeed, "task_MotorSpeed", DEFAULT_STACK_SIZE, NULL, DEFAULT_TASK_PRIORITY+3, &h_task_MotorSpeed);
	if(ret != pdPASS)
	{
		printf("Could not create task MotorSpeed \r\n");
		Error_Handler();
	}
	/*ret = xTaskCreate(IMU_taskRead, "IMU_taskRead", DEFAULT_STACK_SIZE+50, NULL, DEFAULT_TASK_PRIORITY + 9, &h_IMU_taskRead);
	if(ret != pdPASS)
	{
		printf("Could not create IMU taskRead \r\n");
		Error_Handler();
	}*/

	ret = xTaskCreate(task_Strategy, "task_strat", DEFAULT_STACK_SIZE, NULL, DEFAULT_TASK_PRIORITY+1, &h_task_strategy);
	if(ret != pdPASS)
	{
		printf("Could not create task strategy \r\n");
		Error_Handler();
	}

	ret = xTaskCreate(printfTask, "printf_task", DEFAULT_STACK_SIZE, NULL, DEFAULT_TASK_PRIORITY +11, &h_printf);
	if(ret != pdPASS)
	{
		printf("Could not create printf task\r\n");
		Error_Handler();
	}

#endif

	printf("Init des fonctions finie\r\n");

	vTaskStartScheduler();
  /* USER CODE END 2 */

  /* Call init function for freertos objects (in freertos.c) */
  MX_FREERTOS_Init();

  /* Start scheduler */
  osKernelStart();

  /* We should never get here as control is now taken by the scheduler */
  /* Infinite loop */
	while (1)
	{

	}
}

void SystemClock_Config(void)
{
  RCC_OscInitTypeDef RCC_OscInitStruct = {0};
  RCC_ClkInitTypeDef RCC_ClkInitStruct = {0};

  /** Configure the main internal regulator output voltage
  */
  HAL_PWREx_ControlVoltageScaling(PWR_REGULATOR_VOLTAGE_SCALE1);

  /** Initializes the RCC Oscillators according to the specified parameters
  * in the RCC_OscInitTypeDef structure.
  */
  RCC_OscInitStruct.OscillatorType = RCC_OSCILLATORTYPE_HSE;
  RCC_OscInitStruct.HSEState = RCC_HSE_ON;
  RCC_OscInitStruct.PLL.PLLState = RCC_PLL_ON;
  RCC_OscInitStruct.PLL.PLLSource = RCC_PLLSOURCE_HSE;
  RCC_OscInitStruct.PLL.PLLM = RCC_PLLM_DIV1;
  RCC_OscInitStruct.PLL.PLLN = 8;
  RCC_OscInitStruct.PLL.PLLP = RCC_PLLP_DIV2;
  RCC_OscInitStruct.PLL.PLLR = RCC_PLLR_DIV2;
  if (HAL_RCC_OscConfig(&RCC_OscInitStruct) != HAL_OK)
  {
    Error_Handler();
  }

  /** Initializes the CPU, AHB and APB buses clocks
  */
  RCC_ClkInitStruct.ClockType = RCC_CLOCKTYPE_HCLK|RCC_CLOCKTYPE_SYSCLK
                              |RCC_CLOCKTYPE_PCLK1;
  RCC_ClkInitStruct.SYSCLKSource = RCC_SYSCLKSOURCE_PLLCLK;
  RCC_ClkInitStruct.AHBCLKDivider = RCC_SYSCLK_DIV1;
  RCC_ClkInitStruct.APB1CLKDivider = RCC_HCLK_DIV1;

  if (HAL_RCC_ClockConfig(&RCC_ClkInitStruct, FLASH_LATENCY_2) != HAL_OK)
  {
    Error_Handler();
  }
}

void HAL_TIM_PeriodElapsedCallback(TIM_HandleTypeDef *htim)
{
  if (htim->Instance == TIM6) {
    HAL_IncTick();
  }
}

void Error_Handler(void)
{
  /* USER CODE BEGIN Error_Handler_Debug */
	/* User can add his own implementation to report the HAL error return state */
	HAL_GPIO_WritePin(USER_LED2_GPIO_Port, USER_LED2_Pin, 1);
	__disable_irq();
	while (1)
	{
	}
  /* USER CODE END Error_Handler_Debug */
}
